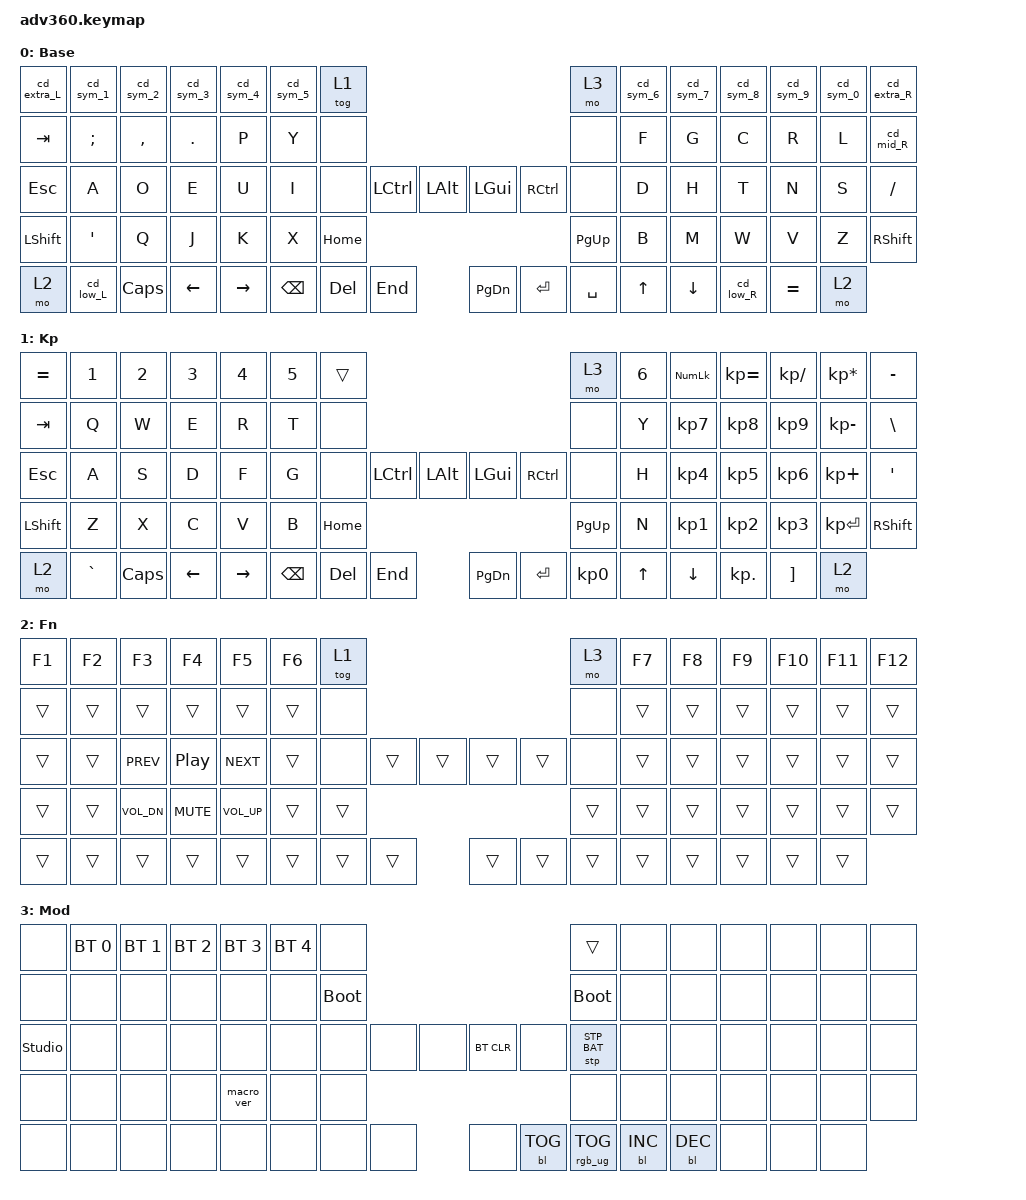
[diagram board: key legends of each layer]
#include <behaviors.dtsi>
#include <dt-bindings/zmk/keys.h>
#include <dt-bindings/zmk/bt.h>
#include <dt-bindings/zmk/rgb.h>
#include <dt-bindings/zmk/stp.h>
#include <dt-bindings/zmk/backlight.h>
#include <dt-bindings/zmk/pointing.h>

/ {
    behaviors {
      #include "macros.dtsi"
      #include "version.dtsi"

      // --- Mirrored Programmer's Dvorak Mod-Morphs ---
      // Tap = Symbol, Shift + Tap = Number (1-0 in order)

      // Left Hand (Numbers 1-5)
      cd_sym_1: cd_sym_1 { compatible = "zmk,behavior-mod-morph"; #binding-cells = <0>; bindings = <&kp DLLR>, <&kp N1>; mods = <(MOD_LSFT|MOD_RSFT)>; };
      cd_sym_2: cd_sym_2 { compatible = "zmk,behavior-mod-morph"; #binding-cells = <0>; bindings = <&kp PLUS>, <&kp N2>; mods = <(MOD_LSFT|MOD_RSFT)>; };
      cd_sym_3: cd_sym_3 { compatible = "zmk,behavior-mod-morph"; #binding-cells = <0>; bindings = <&kp LBKT>, <&kp N3>; mods = <(MOD_LSFT|MOD_RSFT)>; };
      cd_sym_4: cd_sym_4 { compatible = "zmk,behavior-mod-morph"; #binding-cells = <0>; bindings = <&kp LBRC>, <&kp N4>; mods = <(MOD_LSFT|MOD_RSFT)>; };
      cd_sym_5: cd_sym_5 { compatible = "zmk,behavior-mod-morph"; #binding-cells = <0>; bindings = <&kp LPAR>, <&kp N5>; mods = <(MOD_LSFT|MOD_RSFT)>; };

      // Right Hand (Numbers 6-0)
      cd_sym_6: cd_sym_6 { compatible = "zmk,behavior-mod-morph"; #binding-cells = <0>; bindings = <&kp RPAR>, <&kp N6>; mods = <(MOD_LSFT|MOD_RSFT)>; };
      cd_sym_7: cd_sym_7 { compatible = "zmk,behavior-mod-morph"; #binding-cells = <0>; bindings = <&kp RBRC>, <&kp N7>; mods = <(MOD_LSFT|MOD_RSFT)>; };
      cd_sym_8: cd_sym_8 { compatible = "zmk,behavior-mod-morph"; #binding-cells = <0>; bindings = <&kp RBKT>, <&kp N8>; mods = <(MOD_LSFT|MOD_RSFT)>; };
      cd_sym_9: cd_sym_9 { compatible = "zmk,behavior-mod-morph"; #binding-cells = <0>; bindings = <&kp STAR>, <&kp N9>; mods = <(MOD_LSFT|MOD_RSFT)>; };
      cd_sym_0: cd_sym_0 { compatible = "zmk,behavior-mod-morph"; #binding-cells = <0>; bindings = <&kp EXCL>, <&kp N0>; mods = <(MOD_LSFT|MOD_RSFT)>; };

      // Edge Cases for Ops/Terminal efficiency
      cd_extra_L: cd_extra_L { compatible = "zmk,behavior-mod-morph"; #binding-cells = <0>; bindings = <&kp AMPS>,  <&kp PERCENT>; mods = <(MOD_LSFT|MOD_RSFT)>; };
      cd_extra_R: cd_extra_R { compatible = "zmk,behavior-mod-morph"; #binding-cells = <0>; bindings = <&kp MINUS>, <&kp UNDER>; mods = <(MOD_LSFT|MOD_RSFT)>; };
      cd_mid_R: cd_mid_R { compatible = "zmk,behavior-mod-morph"; #binding-cells = <0>; bindings = <&kp PIPE>,  <&kp GRAVE>;  mods = <(MOD_LSFT|MOD_RSFT)>; };
      cd_low_L: cd_low_L { compatible = "zmk,behavior-mod-morph"; #binding-cells = <0>; bindings = <&kp AT>,  <&kp TILDE>;  mods = <(MOD_LSFT|MOD_RSFT)>; };
      cd_low_R: cd_low_R { compatible = "zmk,behavior-mod-morph"; #binding-cells = <0>; bindings = <&kp QMARK>,  <&kp HASH>;  mods = <(MOD_LSFT|MOD_RSFT)>; };

      hm: homerow_mods {
          compatible = "zmk,behavior-hold-tap";
          label = "HOMEROW_MODS";
          #binding-cells = <2>;
          tapping-term-ms = <200>;
          quick_tap_ms = <175>;
          flavor = "tap-preferred";
          bindings = <&kp>, <&kp>;
      };
    };

  keymap {
    compatible = "zmk,keymap";

    default_layer {
      display-name = "Base";
      bindings = <
        // Top Row Optimized for Programmer's Dvorak
        &cd_extra_L &cd_sym_1 &cd_sym_2 &cd_sym_3 &cd_sym_4 &cd_sym_5 &tog 1                                                           &mo 3 &cd_sym_6 &cd_sym_7 &cd_sym_8 &cd_sym_9 &cd_sym_0 &cd_extra_R
        &kp TAB     &kp SEMI   &kp COMMA &kp DOT   &kp P     &kp Y     &none                                                            &none &kp F     &kp G     &kp C     &kp R     &kp L     &cd_mid_R
        &kp ESC     &kp A      &kp O     &kp E     &kp U     &kp I     &none           &kp LCTRL &kp LALT &kp LGUI  &kp RCTRL           &none &kp D     &kp H     &kp T     &kp N     &kp S     &kp FSLH
        &kp LSHFT   &kp SQT    &kp Q     &kp J     &kp K     &kp X                            &kp HOME &kp PG_UP                              &kp B     &kp M     &kp W     &kp V     &kp Z     &kp RSHFT
        &mo 2       &cd_low_L     &kp CAPS  &kp LEFT  &kp RIGHT                &kp BSPC &kp DEL   &kp END  &kp PG_DN &kp ENTER &kp SPACE         &kp UP    &kp DOWN  &cd_low_R  &kp EQUAL  &mo 2
      >;
    };

    keypad {
      display-name = "Kp";
      bindings = <
        &kp EQUAL &kp N1    &kp N2   &kp N3   &kp N4     &kp N5 &trans                                                           &mo 3 &kp N6 &kp KP_NUM &kp KP_EQUAL &kp KP_DIVIDE &kp KP_MULTIPLY &kp MINUS
        &kp TAB   &kp Q     &kp W    &kp E    &kp R      &kp T  &none                                                            &none &kp Y  &kp KP_N7  &kp KP_N8    &kp KP_N9     &kp KP_MINUS    &kp BSLH
        &kp ESC   &kp A     &kp S    &kp D    &kp F      &kp G  &none           &kp LCTRL &kp LALT &kp LGUI  &kp RCTRL           &none &kp H  &kp KP_N4  &kp KP_N5    &kp KP_N6     &kp KP_PLUS     &kp SQT
        &kp LSHFT &kp Z     &kp X    &kp C    &kp V      &kp B                            &kp HOME &kp PG_UP                           &kp N  &kp KP_N1  &kp KP_N2    &kp KP_N3     &kp KP_ENTER    &kp RSHFT
        &mo 2     &kp GRAVE &kp CAPS &kp LEFT &kp RIGHT                &kp BSPC &kp DEL   &kp END  &kp PG_DN &kp ENTER &kp KP_N0              &kp UP     &kp DOWN     &kp KP_DOT    &kp RBKT        &mo 2
      >;
    };

    fn {
      display-name = "Fn";
      bindings = <
        &kp F1 &kp F2 &kp F3 &kp F4 &kp F5 &kp F6 &tog 1                                           &mo 3 &kp F7 &kp F8 &kp F9 &kp F10 &kp F11 &kp F12
        &trans &trans &trans &trans &trans &trans  &none                                           &none &trans &trans &trans &trans  &trans  &trans
        &trans &trans &kp C_PREV &kp C_PP &kp C_NEXT &trans  &none        &trans &trans &trans &trans        &none &trans &trans &trans &trans  &trans  &trans
        &trans &trans &kp C_VOL_DN &kp C_MUTE &kp C_VOL_UP &trans                      &trans &trans                     &trans &trans &trans &trans  &trans  &trans
        &trans &trans &trans &trans &trans               &trans &trans &trans &trans &trans &trans              &trans &trans &trans  &trans  &trans
      >;
    };

    mod {
      display-name = "Mod";
      bindings = <
        &none &bt BT_SEL 0 &bt BT_SEL 1 &bt BT_SEL 2 &bt BT_SEL 3 &bt BT_SEL 4 &none                                                                     &trans                 &none        &none        &none        &none &none &none
        &none &none        &none        &none        &none        &none        &bootloader                                                               &bootloader            &none        &none        &none        &none &none &none
        &studio_unlock &none        &none        &none        &none        &none        &none                   &none &none &bt BT_CLR &none                      &stp STP_BAT &none        &none        &none        &none &none &none
        &none &none        &none        &none        &macro_ver   &none                                      &none &none                                                        &none        &none        &none        &none &none &none
        &none &none        &none        &none        &none                                       &none &none &none &none      &bl BL_TOG &rgb_ug RGB_TOG                                     &bl BL_INC   &bl BL_DEC   &none &none &none
      >;
    };

    extra1 { 
      display-name = "Red";    
      status = "reserved";
    };

    extra2 { 
      display-name = "Purple";    
      status = "reserved";
    };

    extra3 { 
      display-name = "Cyan";    
      status = "reserved";
    };

    extra4 { 
      display-name = "Yellow";    
      status = "reserved";
    };
  };
};
